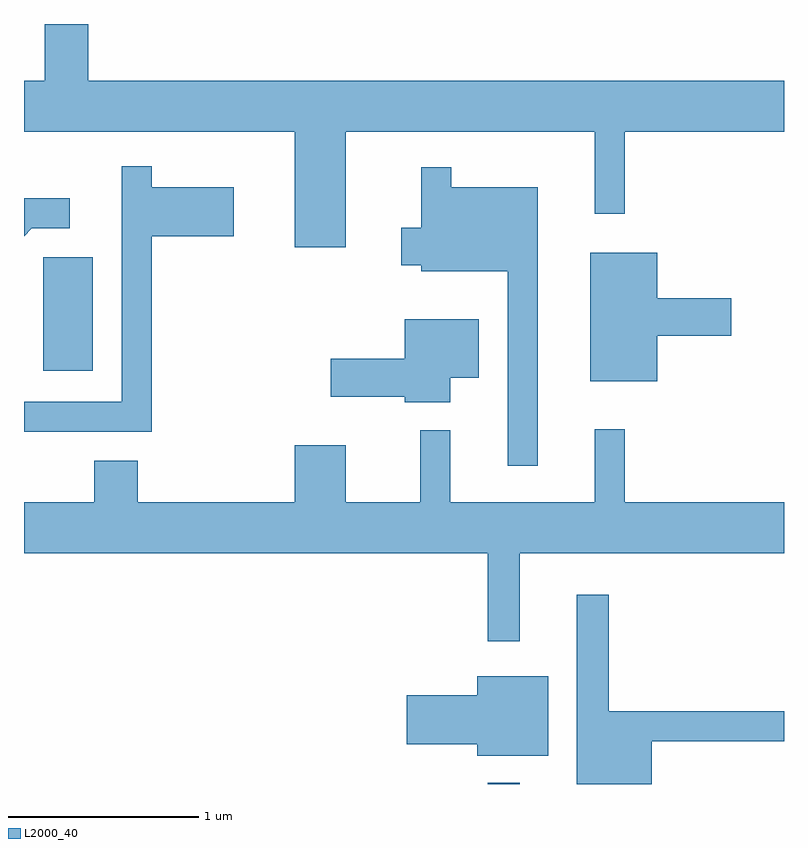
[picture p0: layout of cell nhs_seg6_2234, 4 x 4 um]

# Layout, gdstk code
import gdstk
lib = gdstk.Library(unit=1e-6, precision=1e-09)
def R(c, l, rs):  # rectangles x0, y0, x1, y1
    for r in rs: c.add(gdstk.rectangle(r[:2], r[2:], *l))
def P(c, l, *ps):  # polygons
    for p in ps: c.add(gdstk.Polygon(p, *l))
L2000_40 = (2000, 40)

nhs_seg6_2234 = lib.new_cell('nhs_seg6_2234')
R(nhs_seg6_2234, L2000_40, [(256.051,1542.162,256.219,1542.168), (253.711,1544.336,253.974,1544.934)])
P(nhs_seg6_2234, L2000_40, [(255.304,1545.596),(256.616,1545.596),(256.616,1545.163),(256.774,1545.163),(256.774,1545.596),(257.611,1545.596),(257.611,1545.864),(253.949,1545.864),(253.949,1546.162),(253.721,1546.162),(253.721,1545.864),(253.611,1545.864),(253.611,1545.596),(255.036,1545.596),(255.036,1544.986),(255.304,1544.986)],
  [(254.284,1545.046),(254.714,1545.046),(254.714,1545.304),(254.284,1545.304),(254.284,1545.413),(254.126,1545.413),(254.126,1544.174),(253.611,1544.174),(253.611,1544.016),(254.284,1544.016)],
  [(256.314,1545.304),(255.859,1545.304),(255.859,1545.408),(255.701,1545.408),(255.701,1545.089),(255.596,1545.089),(255.596,1544.891),(255.701,1544.891),(255.701,1544.861),(256.156,1544.861),(256.156,1543.838),(256.314,1543.838)],
  [(253.652,1545.086),(253.853,1545.086),(253.853,1545.244),(253.611,1545.244),(253.611,1545.045)],
  [(256.944,1544.521),(257.334,1544.521),(257.334,1544.719),(256.944,1544.719),(256.944,1544.959),(256.591,1544.959),(256.591,1544.281),(256.944,1544.281)],
  [(255.854,1544.301),(256.004,1544.301),(256.004,1544.609),(255.616,1544.609),(255.616,1544.399),(255.226,1544.399),(255.226,1544.201),(255.616,1544.201),(255.616,1544.171),(255.854,1544.171)],
  [(256.219,1543.376),(257.611,1543.376),(257.611,1543.644),(256.774,1543.644),(256.774,1544.028),(256.616,1544.028),(256.616,1543.644),(255.854,1543.644),(255.854,1544.023),(255.696,1544.023),(255.696,1543.644),(255.304,1543.644),(255.304,1543.944),(255.036,1543.944),(255.036,1543.644),(254.209,1543.644),(254.209,1543.864),(253.981,1543.864),(253.981,1543.644),(253.611,1543.644),(253.611,1543.376),(256.051,1543.376),(256.051,1542.913),(256.219,1542.913)],
  [(256.914,1542.386),(257.611,1542.386),(257.611,1542.544),(256.689,1542.544),(256.689,1543.158),(256.521,1543.158),(256.521,1542.162),(256.914,1542.162)],
  [(256.369,1542.729),(255.996,1542.729),(255.996,1542.629),(255.626,1542.629),(255.626,1542.371),(255.996,1542.371),(255.996,1542.311),(256.369,1542.311)])

lib.write_gds('nhs_seg6_2234.gds')
